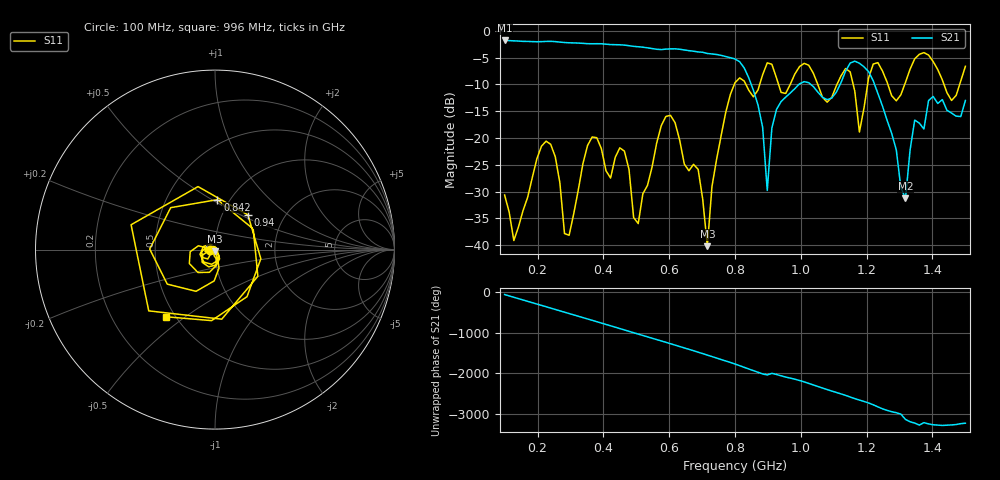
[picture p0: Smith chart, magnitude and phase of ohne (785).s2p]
! NanoVNA-App
! Date: 2025-09-25 14:26:55
! Start: 100MHz Stop: 1,5GHz Points: 101
! S-Parameter data: F S11 S21 S12 S22
# Hz S RI R 50
!  Frequency  S11_Real  S11_Imag  S21_Real  S21_Imag  S12_Real  S12_Imag  S22_Real  S22_Imag
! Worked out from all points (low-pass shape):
!   101 points, 100 MHz to 1.5 GHz, reference 50 ohm
!   highest |S21| = -1.79 dB at 100 MHz (marker M1); lowest = -31.3 dB at 1.318 GHz (marker M2)
!   |S21| within 3 dB of the highest: start of sweep to 772 MHz
!   lowest |S11| = -40.2 dB at 716 MHz (marker M3), VSWR 1.02, Z = 49.7 - j0.94 ohm
!   |S11| at or under -10 dB: start of sweep to 797.9 MHz; 833.1 MHz to 875 MHz (41.94 MHz wide, 4.91 % of centre); 1.052 GHz to 1.11 GHz (58.23 MHz wide, 5.39 % of centre) (the widest 3 of 7)
!   S12 and S22 are empty: the file has one direction only
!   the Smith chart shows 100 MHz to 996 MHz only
!   S11 on the Smith chart (normalised r, x): 100 MHz: 0.94, -0.01; 842 MHz: 0.88, +0.53; 940 MHz: 1.32, +0.55; 996 MHz: 0.45, -0.42
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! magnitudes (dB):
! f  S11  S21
! 100 MHz  -30.6  -1.8
! 128 MHz  -39.1  -1.9
! 226 MHz  -20.6  -2.0
! 296 MHz  -38.2  -2.2
! 338 MHz  -24.8  -2.3
! 464 MHz  -22.5  -2.7
! 506 MHz  -36.0  -3.0
! 576 MHz  -17.7  -3.5
! 688 MHz  -25.9  -3.9
! 716 MHz  -40.2  -4.2
! 800 MHz  -9.7  -5.2
! 842 MHz  -11.1  -8.8
! 898 MHz  -6.0  -29.8
! 940 MHz  -11.5  -13.2
! 996 MHz  -6.7  -9.9
! 1.038 GHz  -7.9  -10.4
! 1.178 GHz  -18.9  -6.0
! 1.22 GHz  -6.2  -9.3
! 1.276 GHz  -12.1  -19.1
! 1.318 GHz  -9.6  -31.3
! 1.346 GHz  -5.2  -16.7
! 1.5 GHz  -6.6  -13.0
